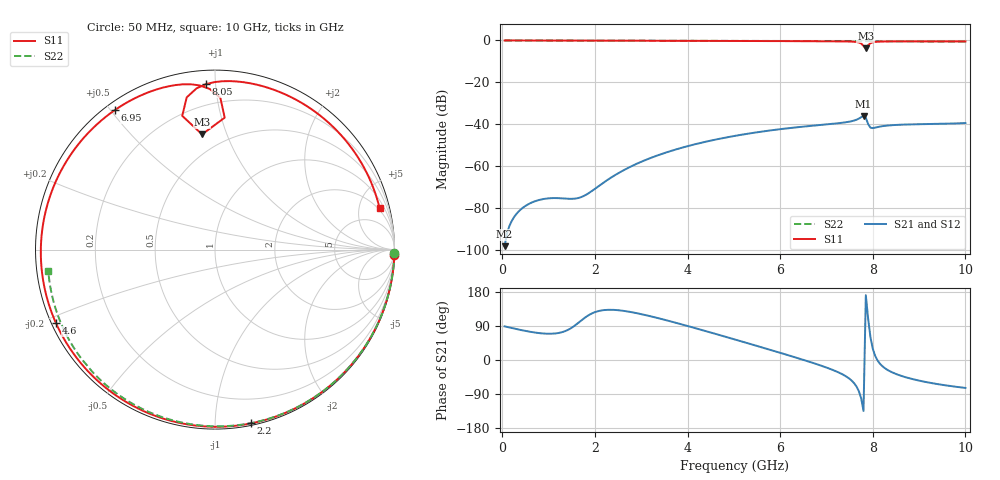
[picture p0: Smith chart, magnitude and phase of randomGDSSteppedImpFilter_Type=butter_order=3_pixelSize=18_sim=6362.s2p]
! freq	dB(S11)	phase(S11)	dB(S12)	phase(S12)
!  dB(S21)	phase(S21)	dB(S22)	phase(S22)
!S-par simulation data
#  GHz  S  DB  R 50
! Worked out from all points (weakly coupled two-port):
!   200 points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, 50 MHz to 10 GHz, reference 50 ohm
!   highest |S21| = -36.10 dB at 7.8 GHz (marker M1); lowest = -98.4 dB at 50 MHz (marker M2)
!   lowest |S11| = -3.8 dB at 7.85 GHz (marker M3), VSWR 4.65, Z = 18.7 + j41.1 ohm
!   |S11| at or under -10 dB: nowhere
!   |S22| runs from -0.6 to 0.0 dB; largest |S21 - S12| = 0
!   S11 on the Smith chart (normalised r, x): 50 MHz: 0, -61; 2.2 GHz: 0.01, -1.23; 4.6 GHz: 0.01, -0.22; 6.95 GHz: 0.03, +0.51; 8.05 GHz: 0.08, +0.94; 10 GHz: 1.73, +7.61
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0.05  -0.00 -1.9  -98.37 88.7  -98.37 88.7  -0.00 -1.0
0.45  -0.02 -16.5  -79.90 77.9  -79.90 77.9  -0.01 -8.9
0.85  -0.04 -31.1  -75.98 70.3  -75.98 70.3  -0.02 -16.7
1.75  -0.08 -62.9  -74.47 108.5  -74.47 108.5  -0.04 -34.0
2.2  -0.10 -78.2  -67.78 131.8  -67.78 131.8  -0.05 -42.5
2.75  -0.12 -96.5  -60.57 127.1  -60.57 127.1  -0.07 -52.7
3.4  -0.15 -117.4  -54.59 109.4  -54.59 109.4  -0.09 -64.4
4.6  -0.21 -155.3  -47.43 69.1  -47.43 69.1  -0.12 -85.2
5.05  -0.24 -169.6  -45.52 53.2  -45.52 53.2  -0.14 -92.8
5.9  -0.30 162.6  -42.70 22.7  -42.70 22.7  -0.18 -106.7
6.7  -0.36 134.9  -40.77 -7.4  -40.77 -7.4  -0.23 -119.5
6.95  -0.38 125.8  -40.25 -17.7  -40.25 -17.7  -0.25 -123.5
7.6  -0.62 98.3  -38.27 -61.6  -38.27 -61.6  -0.30 -133.7
7.7  -0.96 91.9  -37.37 -82.4  -37.37 -82.4  -0.31 -135.3
7.8  -2.65 85.8  -36.10 -134.4  -36.10 -134.4  -0.33 -136.9
7.85  -3.80 96.4  -37.01 171.1  -37.01 171.1  -0.34 -137.7
7.9  -2.30 103.8  -39.98 108.8  -39.98 108.8  -0.34 -138.4
7.95  -1.28 100.5  -41.70 60.1  -41.70 60.1  -0.34 -139.2
8.05  -0.69 93.1  -41.70 11.4  -41.70 11.4  -0.35 -140.8
8.35  -0.47 78.1  -40.62 -28.4  -40.62 -28.4  -0.37 -145.5
9.2  -0.46 44.1  -39.98 -59.4  -39.98 -59.4  -0.47 -159.2
10  -0.49 14.3  -39.49 -73.7  -39.49 -73.7  -0.57 -172.5
